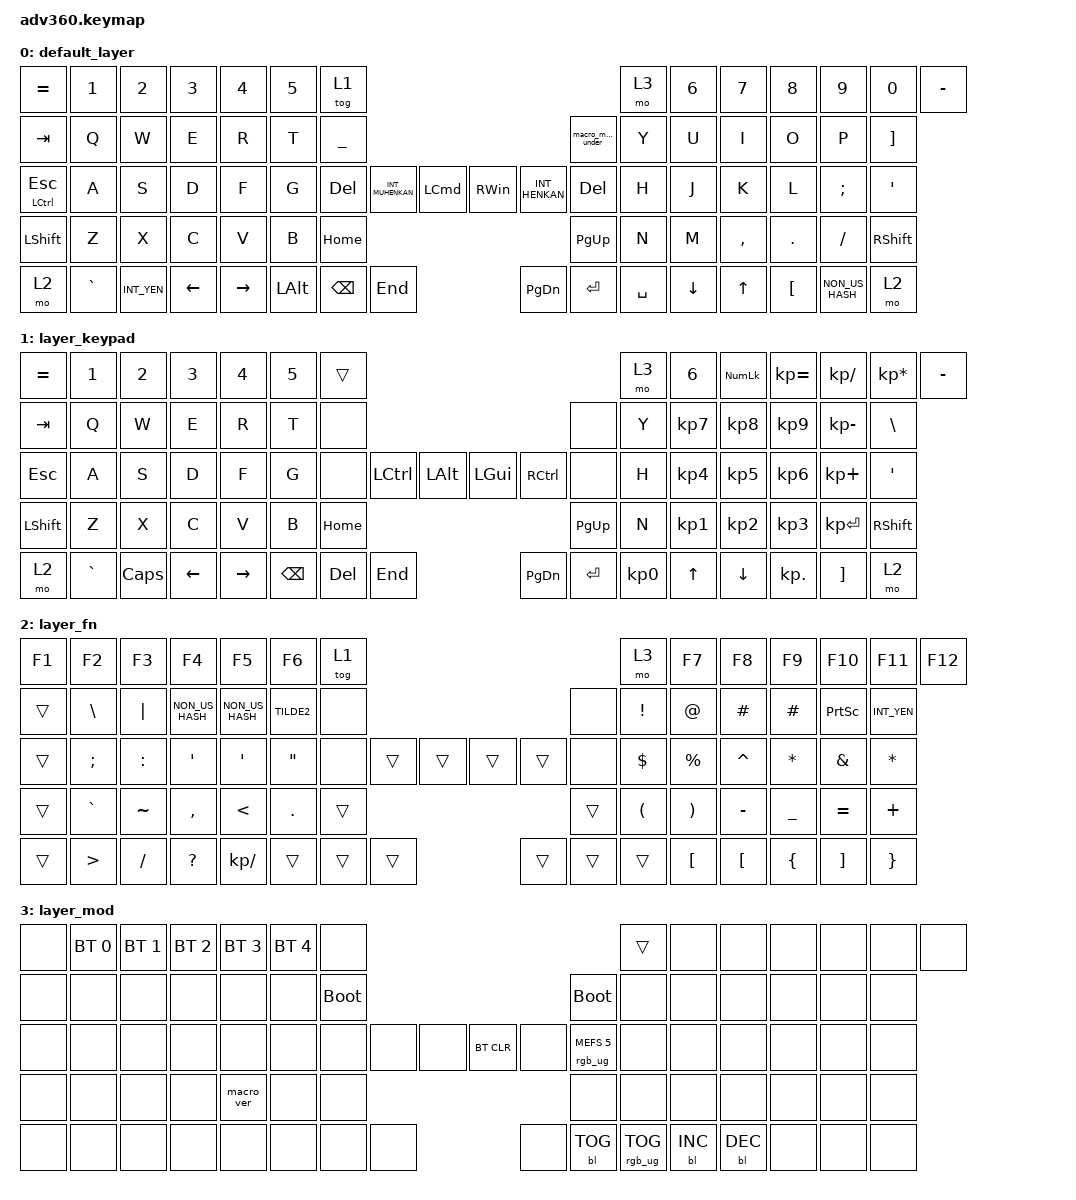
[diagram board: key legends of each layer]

/*
 * Copyright (c) 2020 The ZMK Contributors
 *
 * SPDX-License-Identifier: MIT
 */


/* THIS FILE WAS GENERATED!
 *
 * This file was generated automatically. You may or may not want to
 * edit it directly.
 */

#include <behaviors.dtsi>
#include <dt-bindings/zmk/keys.h>
#include <dt-bindings/zmk/bt.h>
#include <dt-bindings/zmk/rgb.h>
#include <dt-bindings/zmk/backlight.h>

/ {
  behaviors {
    #include "macros.dtsi"
    #include "version.dtsi"

    hm: homerow_mods {
        compatible = "zmk,behavior-hold-tap";
        label = "HOMEROW_MODS";
        #binding-cells = <2>;
        tapping-term-ms = <200>;
        quick_tap_ms = <175>;
        flavor = "tap-preferred";
        bindings = <&kp>, <&kp>;
    };
  };

    keymap {
        compatible = "zmk,keymap";


        default_layer {
            bindings = <
     &kp EQUAL     &kp N1       &kp N2    &kp N3     &kp N4  &kp N5                    &tog 1                                                                                                  &mo 3  &kp N6    &kp N7     &kp N8    &kp N9           &kp N0          &kp MINUS
       &kp TAB      &kp Q        &kp W     &kp E      &kp R   &kp T            &kp UNDERSCORE                                                                                     &macro_macro_under   &kp Y     &kp U      &kp I     &kp O            &kp P  &kp RIGHT_BRACKET
 &mt LCTRL ESC      &kp A        &kp S     &kp D      &kp F   &kp G                &kp DELETE  &kp INT_MUHENKAN  &kp LEFT_COMMAND                  &kp RIGHT_WIN  &kp INT_HENKAN             &kp DEL   &kp H     &kp J      &kp K     &kp L         &kp SEMI            &kp SQT
     &kp LSHFT      &kp Z        &kp X     &kp C      &kp V   &kp B                                                      &kp HOME                      &kp PG_UP                                       &kp N     &kp M  &kp COMMA   &kp DOT         &kp FSLH          &kp RSHFT
         &mo 2  &kp GRAVE  &kp INT_YEN  &kp LEFT  &kp RIGHT                      &kp LEFT_ALT     &kp BACKSPACE           &kp END                      &kp PG_DN       &kp ENTER           &kp SPACE          &kp DOWN     &kp UP  &kp LBKT  &kp NON_US_HASH              &mo 2
            >;
        };

        layer_keypad {
            bindings = <
 &kp EQUAL     &kp N1    &kp N2    &kp N3     &kp N4  &kp N5              &trans                                                                 &mo 3  &kp N6  &kp KP_NUM  &kp KP_EQUAL  &kp KP_DIVIDE  &kp KP_MULTIPLY  &kp MINUS
   &kp TAB      &kp Q     &kp W     &kp E      &kp R   &kp T               &none                                                                 &none   &kp Y   &kp KP_N7     &kp KP_N8      &kp KP_N9     &kp KP_MINUS   &kp BSLH
   &kp ESC      &kp A     &kp S     &kp D      &kp F   &kp G               &none  &kp LCTRL  &kp LALT                   &kp LGUI  &kp RCTRL      &none   &kp H   &kp KP_N4     &kp KP_N5      &kp KP_N6      &kp KP_PLUS    &kp SQT
 &kp LSHFT      &kp Z     &kp X     &kp C      &kp V   &kp B                                 &kp HOME                  &kp PG_UP                         &kp N   &kp KP_N1     &kp KP_N2      &kp KP_N3     &kp KP_ENTER  &kp RSHFT
     &mo 2  &kp GRAVE  &kp CAPS  &kp LEFT  &kp RIGHT                    &kp BSPC    &kp DEL   &kp END                  &kp PG_DN  &kp ENTER  &kp KP_N0              &kp UP      &kp DOWN     &kp KP_DOT         &kp RBKT      &mo 2
            >;
        };

        layer_fn {
            bindings = <
 &kp F1            &kp F2     &kp F3            &kp F4           &kp F5             &kp F6            &tog 1                                                   &mo 3                &kp F7                 &kp F8            &kp F9         &kp F10            &kp F11          &kp F12
 &trans     &kp BACKSLASH   &kp PIPE   &kp NON_US_HASH  &kp NON_US_HASH         &kp TILDE2             &none                                                   &none       &kp EXCLAMATION            &kp AT_SIGN          &kp HASH       &kp POUND    &kp PRINTSCREEN      &kp INT_YEN
 &trans     &kp SEMICOLON  &kp COLON  &kp SINGLE_QUOTE   &kp APOSTROPHE  &kp DOUBLE_QUOTES             &none  &trans  &trans                  &trans  &trans   &none            &kp DOLLAR            &kp PERCENT         &kp CARET        &kp STAR      &kp AMPERSAND     &kp ASTERISK
 &trans         &kp GRAVE  &kp TILDE         &kp COMMA    &kp LESS_THAN         &kp PERIOD                            &trans                  &trans                  &kp LEFT_PARENTHESIS  &kp RIGHT_PARENTHESIS         &kp MINUS  &kp UNDERSCORE          &kp EQUAL         &kp PLUS
 &trans  &kp GREATER_THAN  &kp SLASH      &kp QUESTION    &kp KP_DIVIDE                               &trans  &trans  &trans                  &trans  &trans  &trans                             &kp LEFT_BRACKET  &kp LEFT_BRACKET  &kp LEFT_BRACE  &kp RIGHT_BRACKET  &kp RIGHT_BRACE
            >;
        };

        layer_mod {
            bindings = <
  &none  &bt BT_SEL 0  &bt BT_SEL 1  &bt BT_SEL 2  &bt BT_SEL 3  &bt BT_SEL 4                  &none                                                                          &trans   &none       &none       &none   &none   &none   &none
  &none         &none         &none         &none         &none         &none            &bootloader                                                                     &bootloader   &none       &none       &none   &none   &none   &none
  &none         &none         &none         &none         &none         &none                  &none   &none   &none                  &bt BT_CLR       &none  &rgb_ug RGB_MEFS_CMD 5   &none       &none       &none   &none   &none   &none
  &none         &none         &none         &none    &macro_ver         &none                                  &none                       &none                                       &none       &none       &none   &none   &none   &none
  &none         &none         &none         &none         &none                                &none   &none   &none                       &none  &bl BL_TOG         &rgb_ug RGB_TOG          &bl BL_INC  &bl BL_DEC   &none   &none   &none
            >;
        };

    };
};
